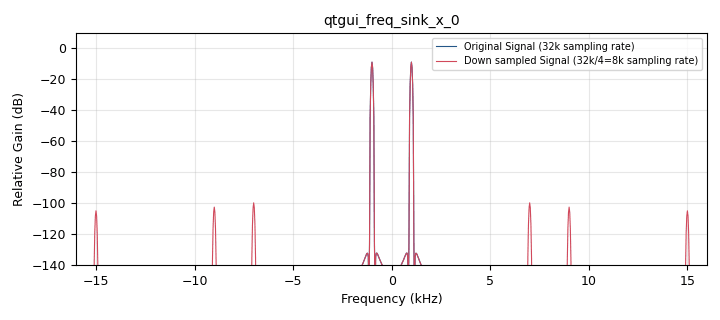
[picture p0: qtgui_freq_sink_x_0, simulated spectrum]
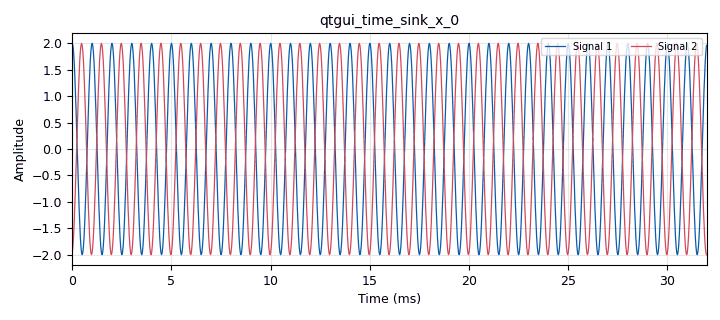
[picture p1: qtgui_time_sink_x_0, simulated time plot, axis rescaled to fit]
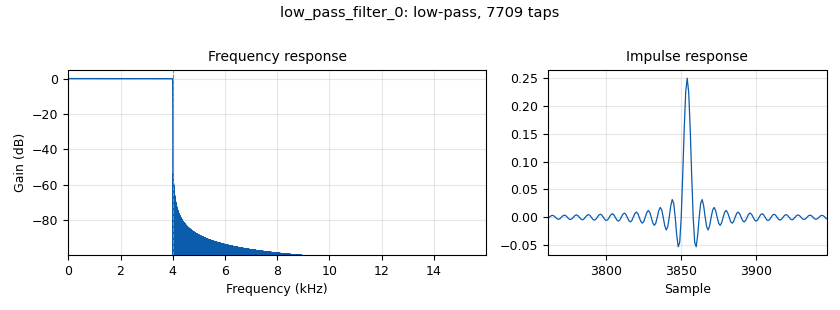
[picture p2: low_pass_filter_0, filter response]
options:
  parameters:
    author: zoe
    generate_options: qt_gui
    id: lab2_4
    output_language: python
    title: Not titled yet
  states: {}

blocks:
- name: frequency
  id: variable_qtgui_range
  parameters:
    start: '1000'
    step: '100'
    stop: '32000'
    value: '1000'
  states: {}
- name: samp_rate
  id: variable
  parameters:
    value: '32000'
  states: {}
- name: analog_sig_source_x_0_0_0
  id: analog_sig_source_x
  parameters:
    amp: '2'
    freq: frequency
    offset: '0'
    phase: '0'
    samp_rate: samp_rate
    type: float
    waveform: analog.GR_COS_WAVE
  states: {}
- name: blocks_deinterleave_0
  id: blocks_deinterleave
  parameters:
    num_streams: '4'
    type: float
  states: {}
- name: blocks_null_sink_0
  id: blocks_null_sink
  parameters:
    num_inputs: '3'
    type: float
  states: {}
- name: blocks_throttle_0
  id: blocks_throttle
  parameters:
    samples_per_second: samp_rate
    type: float
  states: {}
- name: low_pass_filter_0
  id: low_pass_filter
  parameters:
    cutoff_freq: '4000'
    gain: '1'
    interp: '1'
    samp_rate: samp_rate
    type: interp_fir_filter_fff
    width: '10'
    win: window.WIN_HAMMING
  states: {}
- name: qtgui_freq_sink_x_0
  id: qtgui_freq_sink_x
  parameters:
    bw: samp_rate
    fc: '0'
    fftsize: '1024'
    label1: Original Signal (32k sampling rate)
    label2: Down sampled Signal (32k/4=8k sampling rate)
    nconnections: '2'
    type: float
  states: {}
- name: qtgui_time_sink_x_0
  id: qtgui_time_sink_x
  parameters:
    nconnections: '2'
    size: '1024'
    srate: samp_rate
    type: float
  states: {}
- name: rational_resampler_xxx_0
  id: rational_resampler_xxx
  parameters:
    decim: '1'
    interp: '4'
    type: fff
  states: {}

connections:
- [analog_sig_source_x_0_0_0, '0', low_pass_filter_0, '0']
- [analog_sig_source_x_0_0_0, '0', qtgui_freq_sink_x_0, '0']
- [analog_sig_source_x_0_0_0, '0', qtgui_time_sink_x_0, '0']
- [blocks_deinterleave_0, '0', blocks_throttle_0, '0']
- [blocks_deinterleave_0, '1', blocks_null_sink_0, '0']
- [blocks_deinterleave_0, '2', blocks_null_sink_0, '1']
- [blocks_deinterleave_0, '3', blocks_null_sink_0, '2']
- [blocks_throttle_0, '0', rational_resampler_xxx_0, '0']
- [low_pass_filter_0, '0', blocks_deinterleave_0, '0']
- [rational_resampler_xxx_0, '0', qtgui_freq_sink_x_0, '1']
- [rational_resampler_xxx_0, '0', qtgui_time_sink_x_0, '1']

metadata:
  file_format: 1
  grc_version: 3.10.5.1
